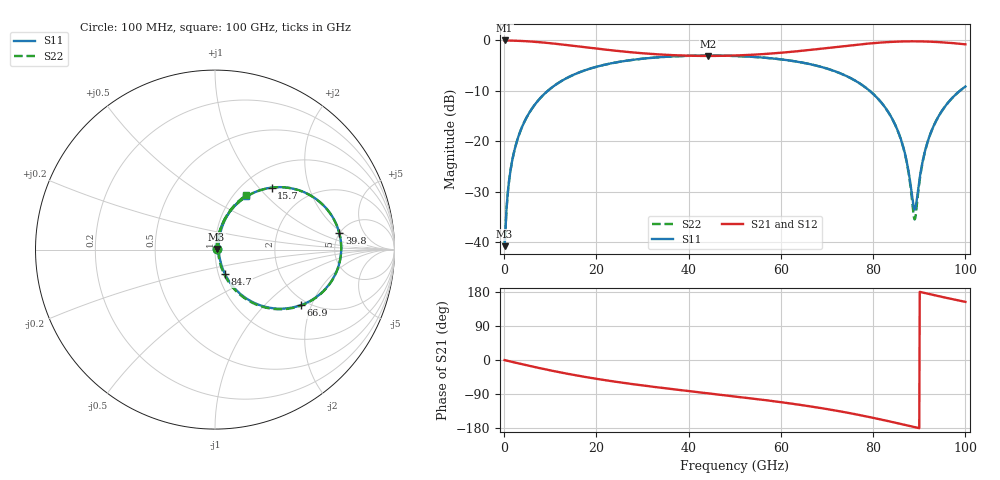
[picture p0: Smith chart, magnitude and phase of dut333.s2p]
! Touchstone file exported from HFSS 2026.1.0
!  File:  C:/ffzhzh/LocalFiles/Ansys_Project_Files/temp_train_RDL_333_1783502924_41296.aedt
!  Generated:  05:30:09 PM Jul  8, 2026
!  Design:  RDL
!  Project:  temp_train_RDL_333_1783502924_41296
! Variables:
!  h_bsmrdl = 2um
!  h_ox = 20um
!  h_rdl = 5um
!  h_sub = 80um
!  h_tmrdl = 2.12um
!  h_tsv = 80um
!  h_via = 3um
!  l_bsmrdl = 300um
!  l_sub = 1059.19um
!  l_tmrdl = 659.19um
!  m_sub = 200um
!  pitch = 49.82um
!  r_tsv = 6um
!  s_tmrdl = 10um
!  w_bsmrdl = 18um
!  w_sub = 500um
!  w_tmrdl = 13.21um
!  x_tsv_center1 = 665.795um
!  x_tsv_center2 = 983.795um
!  x_tsv_center3 = 1656.195um
!  x_tsv_center4 = 1974.195um
!  x_tsv_center5 = 2646.595um
!  x_tsv_center6 = 2964.595um
# GHz S MA R 50.000000
! Terminal data exported
! Port[1] = TM_RDL1_1_T1
! Port[2] = TM_RDL1_1_T2
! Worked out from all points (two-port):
!   1000 points, 100 MHz to 100 GHz, reference 50 ohm
!   highest |S21| = -0.07 dB at 100 MHz (marker M1); lowest = -3.1 dB at 44.3 GHz (marker M2)
!   |S21| within 3 dB of the highest: start of sweep to 39.51 GHz; 49.11 GHz to end of sweep
!   lowest |S11| = -40.7 dB at 100 MHz (marker M3), VSWR 1.02, Z = 50.8 + j0.384 ohm
!   |S11| at or under -10 dB: start of sweep to 9.498 GHz; 79.23 GHz to 98.84 GHz (19.61 GHz wide, 22 % of centre)
!   |S22| runs from -40.7 to -3.1 dB; largest |S21 - S12| = 1.8e-14
!   S11 on the Smith chart (normalised r, x): 100 MHz: 1.02, +0.01; 15.7 GHz: 1.33, +1.17; 39.8 GHz: 4.97, +1.79; 66.9 GHz: 1.84, -1.69; 84.7 GHz: 1.08, -0.30; 100 GHz: 1.14, +0.78
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0.1  0.009187 24.2  0.9916 -0.3  0.9916 -0.3  0.009187 24.2
! Gamma 0 0 0 0
! Port Impedance 50 0 50 0
1  0.03821 72.8  0.9899 -2.9  0.9899 -2.9  0.03821 72.8
1.6  0.05925 75.7  0.9883 -4.6  0.9883 -4.6  0.05925 75.7
4.1  0.146 74.1  0.9784 -11.7  0.9784 -11.7  0.146 74.0
8.7  0.2931 63.6  0.944 -24.0  0.944 -24.0  0.2931 63.6
15.7  0.4677 47.6  0.8699 -40.7  0.8699 -40.7  0.4677 47.5
16.8  0.4894 45.3  0.8578 -43.1  0.8578 -43.1  0.4894 45.2
33.4  0.6759 16.7  0.7226 -72.3  0.7226 -72.3  0.6758 16.5
39.8  0.6988 7.6  0.7014 -81.6  0.7014 -81.6  0.6987 7.4
44.3  0.7034 1.4  0.6971 -88.0  0.6971 -88.0  0.7034 1.2
50.1  0.6962 -6.6  0.7043 -96.2  0.7043 -96.2  0.6962 -6.9
66.7  0.5731 -32.5  0.803 -123.0  0.803 -123.0  0.573 -32.9
66.9  0.5703 -32.8  0.8048 -123.4  0.8048 -123.4  0.5702 -33.3
76.9  0.378 -52.8  0.9045 -144.9  0.9045 -144.9  0.3778 -53.6
83.4  0.1905 -66.1  0.9568 -161.6  0.9568 -161.6  0.1901 -67.5
84.7  0.1483 -67.8  0.9634 -165.1  0.9634 -165.1  0.1478 -69.6
87  0.07221 -65.2  0.9707 -171.5  0.9707 -171.5  0.07108 -68.7
89  0.02109 2.2  0.9723 -177.1  0.9723 -177.1  0.01686 2.0
90.9  0.06879 69.2  0.9694 177.6  0.9694 177.6  0.06763 72.4
92.7  0.1282 72.7  0.963 172.6  0.963 172.6  0.1276 74.3
95.8  0.2275 68.6  0.9445 164.2  0.9445 164.2  0.2271 69.4
100  0.3475 59.9  0.9082 153.5  0.9082 153.5  0.3473 60.3
